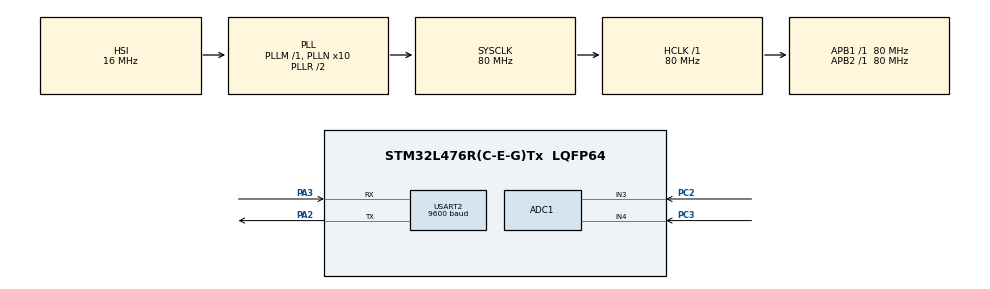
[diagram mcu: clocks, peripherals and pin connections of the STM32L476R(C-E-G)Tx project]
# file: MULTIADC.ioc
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ADC1.Channel-0\#ChannelRegularConversion=ADC_CHANNEL_3
ADC1.Channel-1\#ChannelRegularConversion=ADC_CHANNEL_4
ADC1.ContinuousConvMode=ENABLE
ADC1.EOCSelection=ADC_EOC_SINGLE_CONV
ADC1.NbrOfConversion=2
ADC1.NbrOfConversionFlag=1
ADC1.OffsetNumber-0\#ChannelRegularConversion=ADC_OFFSET_NONE
ADC1.OffsetNumber-1\#ChannelRegularConversion=ADC_OFFSET_NONE
ADC1.Overrun=ADC_OVR_DATA_OVERWRITTEN
ADC1.Rank-0\#ChannelRegularConversion=1
ADC1.Rank-1\#ChannelRegularConversion=2
ADC1.SamplingTime-0\#ChannelRegularConversion=ADC_SAMPLETIME_2CYCLES_5
ADC1.SamplingTime-1\#ChannelRegularConversion=ADC_SAMPLETIME_2CYCLES_5
ADC1.master=1
Mcu.Family=STM32L4
Mcu.Name=STM32L476R(C-E-G)Tx
Mcu.Package=LQFP64
NVIC.PriorityGroup=NVIC_PRIORITYGROUP_4
PA2.Mode=Asynchronous
PA2.Signal=USART2_TX
PA3.Mode=Asynchronous
PA3.Signal=USART2_RX
PC2.Signal=ADCx_IN3
PC3.Signal=ADCx_IN4
PH0-OSC_IN\ (PH0).Mode=HSE-External-Oscillator
PH0-OSC_IN\ (PH0).Signal=RCC_OSC_IN
PH1-OSC_OUT\ (PH1).Mode=HSE-External-Oscillator
PH1-OSC_OUT\ (PH1).Signal=RCC_OSC_OUT
ProjectManager.HeapSize=0x200
ProjectManager.StackSize=0x400
ProjectManager.TargetToolchain=STM32CubeIDE
RCC.ADCFreq_Value=64000000
RCC.AHBFreq_Value=80000000
RCC.APB1Freq_Value=80000000
RCC.APB1TimFreq_Value=80000000
RCC.APB2Freq_Value=80000000
RCC.APB2TimFreq_Value=80000000
RCC.CortexFreq_Value=80000000
RCC.HCLKFreq_Value=80000000
RCC.HSE_VALUE=8000000
RCC.HSI_VALUE=16000000
RCC.LSE_VALUE=32768
RCC.MSI_VALUE=4000000
RCC.PLLN=10
RCC.PLLSourceVirtual=RCC_PLLSOURCE_HSI
RCC.SYSCLKFreq_VALUE=80000000
RCC.SYSCLKSource=RCC_SYSCLKSOURCE_PLLCLK
RCC.USBFreq_Value=64000000
RCC.VCOOutputFreq_Value=160000000
SH.ADCx_IN3.0=ADC1_IN3,IN3-Single-Ended
SH.ADCx_IN4.0=ADC1_IN4,IN4-Single-Ended
USART2.BaudRate=9600
USART2.VirtualMode-Asynchronous=VM_ASYNC
board=custom

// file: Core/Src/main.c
/* USER CODE BEGIN Header */
/**
  ******************************************************************************
  * @file           : main.c
  * @brief          : Main program body
  ******************************************************************************
  * @attention
  *
  * Copyright (c) 2024 STMicroelectronics.
  * All rights reserved.
  *
  * This software is licensed under terms that can be found in the LICENSE file
  * in the root directory of this software component.
  * If no LICENSE file comes with this software, it is provided AS-IS.
  *
  ******************************************************************************
  */
/* USER CODE END Header */
#include "main.h"

/* USER CODE BEGIN Includes */
#include "stdio.h"
/* USER CODE END Includes */

ADC_HandleTypeDef hadc1;

UART_HandleTypeDef huart2;

/* USER CODE BEGIN PV */
uint32_t adcResult1,adcResult2;
float mv1, mv2;
char signs[20];
uint32_t adcResult1,adcResult2;
/* USER CODE END PV */

void SystemClock_Config(void);
static void MX_GPIO_Init(void);
static void MX_ADC1_Init(void);
static void MX_USART2_UART_Init(void);

int main(void)
{

  /* MCU Configuration--------------------------------------------------------*/

  /* Reset of all peripherals, Initializes the Flash interface and the Systick. */
  HAL_Init();

  /* Configure the system clock */
  SystemClock_Config();

  /* Initialize all configured peripherals */
  MX_GPIO_Init();
  MX_ADC1_Init();
  MX_USART2_UART_Init();

  /* Infinite loop */
  /* USER CODE BEGIN WHILE */
  while (1)
  {
	  HAL_ADC_Start(&hadc1);

	  HAL_ADC_PollForConversion(&hadc1, 100);
	  adcResult1= HAL_ADC_GetValue(&hadc1);

	  HAL_ADC_PollForConversion(&hadc1, 100);
	  adcResult2= HAL_ADC_GetValue(&hadc1);

	  HAL_ADC_Stop(&hadc1);

	  sprintf(signs,"AnalogRead1 : %d\r\n",adcResult1);
	  HAL_UART_Transmit(&huart2, signs, strlen(signs), 100);
	  mv1=((float)adcResult1*3300.0/4095.0);
	  sprintf(signs,"Voltage1 : %f\r\n",mv1);
	  HAL_UART_Transmit(&huart2, signs, strlen(signs), 100);

	  sprintf(signs,"AnalogRead2 : %d\r\n",adcResult2);
	  HAL_UART_Transmit(&huart2, signs, strlen(signs), 100);
	  mv1=((float)adcResult2*3300.0/4095.0);
	  sprintf(signs,"Voltage2 : %f\r\n",mv1);
	  HAL_UART_Transmit(&huart2, signs, strlen(signs), 100);

	  HAL_Delay(1000);

    /* USER CODE END WHILE */

  }
}

void SystemClock_Config(void)
{
  RCC_OscInitTypeDef RCC_OscInitStruct = {0};
  RCC_ClkInitTypeDef RCC_ClkInitStruct = {0};

  /** Configure the main internal regulator output voltage
  */
  if (HAL_PWREx_ControlVoltageScaling(PWR_REGULATOR_VOLTAGE_SCALE1) != HAL_OK)
  {
    Error_Handler();
  }

  /** Initializes the RCC Oscillators according to the specified parameters
  * in the RCC_OscInitTypeDef structure.
  */
  RCC_OscInitStruct.OscillatorType = RCC_OSCILLATORTYPE_HSI;
  RCC_OscInitStruct.HSIState = RCC_HSI_ON;
  RCC_OscInitStruct.HSICalibrationValue = RCC_HSICALIBRATION_DEFAULT;
  RCC_OscInitStruct.PLL.PLLState = RCC_PLL_ON;
  RCC_OscInitStruct.PLL.PLLSource = RCC_PLLSOURCE_HSI;
  RCC_OscInitStruct.PLL.PLLM = 1;
  RCC_OscInitStruct.PLL.PLLN = 10;
  RCC_OscInitStruct.PLL.PLLP = RCC_PLLP_DIV7;
  RCC_OscInitStruct.PLL.PLLQ = RCC_PLLQ_DIV2;
  RCC_OscInitStruct.PLL.PLLR = RCC_PLLR_DIV2;
  if (HAL_RCC_OscConfig(&RCC_OscInitStruct) != HAL_OK)
  {
    Error_Handler();
  }

  /** Initializes the CPU, AHB and APB buses clocks
  */
  RCC_ClkInitStruct.ClockType = RCC_CLOCKTYPE_HCLK|RCC_CLOCKTYPE_SYSCLK
                              |RCC_CLOCKTYPE_PCLK1|RCC_CLOCKTYPE_PCLK2;
  RCC_ClkInitStruct.SYSCLKSource = RCC_SYSCLKSOURCE_PLLCLK;
  RCC_ClkInitStruct.AHBCLKDivider = RCC_SYSCLK_DIV1;
  RCC_ClkInitStruct.APB1CLKDivider = RCC_HCLK_DIV1;
  RCC_ClkInitStruct.APB2CLKDivider = RCC_HCLK_DIV1;

  if (HAL_RCC_ClockConfig(&RCC_ClkInitStruct, FLASH_LATENCY_4) != HAL_OK)
  {
    Error_Handler();
  }
}

static void MX_ADC1_Init(void)
{

  ADC_MultiModeTypeDef multimode = {0};
  ADC_ChannelConfTypeDef sConfig = {0};

  /** Common config
  */
  hadc1.Instance = ADC1;
  hadc1.Init.ClockPrescaler = ADC_CLOCK_ASYNC_DIV1;
  hadc1.Init.Resolution = ADC_RESOLUTION_12B;
  hadc1.Init.DataAlign = ADC_DATAALIGN_RIGHT;
  hadc1.Init.ScanConvMode = ADC_SCAN_ENABLE;
  hadc1.Init.EOCSelection = ADC_EOC_SINGLE_CONV;
  hadc1.Init.LowPowerAutoWait = DISABLE;
  hadc1.Init.ContinuousConvMode = ENABLE;
  hadc1.Init.NbrOfConversion = 2;
  hadc1.Init.DiscontinuousConvMode = DISABLE;
  hadc1.Init.ExternalTrigConv = ADC_SOFTWARE_START;
  hadc1.Init.ExternalTrigConvEdge = ADC_EXTERNALTRIGCONVEDGE_NONE;
  hadc1.Init.DMAContinuousRequests = DISABLE;
  hadc1.Init.Overrun = ADC_OVR_DATA_OVERWRITTEN;
  hadc1.Init.OversamplingMode = DISABLE;
  if (HAL_ADC_Init(&hadc1) != HAL_OK)
  {
    Error_Handler();
  }

  /** Configure the ADC multi-mode
  */
  multimode.Mode = ADC_MODE_INDEPENDENT;
  if (HAL_ADCEx_MultiModeConfigChannel(&hadc1, &multimode) != HAL_OK)
  {
    Error_Handler();
  }

  /** Configure Regular Channel
  */
  sConfig.Channel = ADC_CHANNEL_3;
  sConfig.Rank = ADC_REGULAR_RANK_1;
  sConfig.SamplingTime = ADC_SAMPLETIME_2CYCLES_5;
  sConfig.SingleDiff = ADC_SINGLE_ENDED;
  sConfig.OffsetNumber = ADC_OFFSET_NONE;
  sConfig.Offset = 0;
  if (HAL_ADC_ConfigChannel(&hadc1, &sConfig) != HAL_OK)
  {
    Error_Handler();
  }

  /** Configure Regular Channel
  */
  sConfig.Channel = ADC_CHANNEL_4;
  sConfig.Rank = ADC_REGULAR_RANK_2;
  if (HAL_ADC_ConfigChannel(&hadc1, &sConfig) != HAL_OK)
  {
    Error_Handler();
  }

}

static void MX_USART2_UART_Init(void)
{

  huart2.Instance = USART2;
  huart2.Init.BaudRate = 9600;
  huart2.Init.WordLength = UART_WORDLENGTH_8B;
  huart2.Init.StopBits = UART_STOPBITS_1;
  huart2.Init.Parity = UART_PARITY_NONE;
  huart2.Init.Mode = UART_MODE_TX_RX;
  huart2.Init.HwFlowCtl = UART_HWCONTROL_NONE;
  huart2.Init.OverSampling = UART_OVERSAMPLING_16;
  huart2.Init.OneBitSampling = UART_ONE_BIT_SAMPLE_DISABLE;
  huart2.AdvancedInit.AdvFeatureInit = UART_ADVFEATURE_NO_INIT;
  if (HAL_UART_Init(&huart2) != HAL_OK)
  {
    Error_Handler();
  }

}

static void MX_GPIO_Init(void)
{

  /* GPIO Ports Clock Enable */
  __HAL_RCC_GPIOH_CLK_ENABLE();
  __HAL_RCC_GPIOC_CLK_ENABLE();
  __HAL_RCC_GPIOA_CLK_ENABLE();

}

void Error_Handler(void)
{
  __disable_irq();
  while (1)
  {
  }
}
